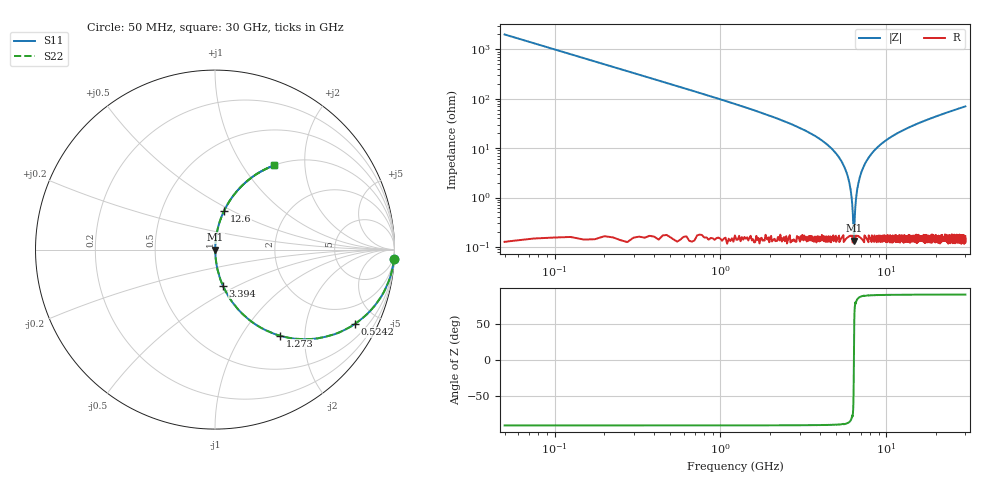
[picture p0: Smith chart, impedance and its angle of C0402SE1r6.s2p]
!	AVX Thin Film Operation 	Date: April 2014
!	Description: Accu-P® Series, Thin Film  SMD RF Capacitor
!	Part Number: 04021J1R6PBSTR
# MHZ S MA R 50
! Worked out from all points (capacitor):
!   1201 points, 50 MHz to 30 GHz, reference 50 ohm
!   read as one part in series: C = 1.6 pF near 199.8 MHz
!   lowest |Z| = 133 mohm at 6.389 GHz (marker M1)
!   series resonance near 6.379 GHz, so ESL is about 390 pH
!   S11 on the Smith chart (normalised r, x): 50 MHz: 1, -40; 524.2 MHz: 1.00, -3.77; 1.273 GHz: 1.00, -1.50; 3.394 GHz: 1.00, -0.42; 12.6 GHz: 1.00, +0.46; 30 GHz: 1.00, +1.40
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50  0.999 -2.9  0.05 87.1  0.05 87.1  0.999 -2.9
274.625  0.964 -15.5  0.267 74.5  0.267 74.5  0.964 -15.5
524.208  0.883 -27.9  0.469 62.0  0.469 62.0  0.883 -27.9
1272.958  0.6 -53.0  0.799 36.8  0.799 36.8  0.6 -53.0
2121.542  0.384 -67.2  0.922 22.6  0.922 22.6  0.384 -67.2
3394.417  0.205 -77.7  0.977 11.8  0.977 11.8  0.205 -77.7
5041.667  0.074 -84.6  0.996 4.2  0.996 4.2  0.074 -84.6
5890.25  0.025 -85.2  0.998 1.4  0.998 1.4  0.025 -85.2
6114.875  0.013 -82.9  0.998 0.8  0.998 0.8  0.013 -82.9
6289.583  0.00466 -71.3  0.999 0.3  0.999 0.3  0.00466 -71.3
6389.417  0.001556 18.1  0.999 -0.0  0.999 -0.0  0.001556 18.1
6464.292  0.00437 70.0  0.999 -0.2  0.999 -0.2  0.00437 70.0
6614.042  0.011 81.9  0.998 -0.6  0.998 -0.6  0.011 81.9
6788.75  0.019 84.5  0.998 -1.1  0.998 -1.1  0.019 84.5
7337.833  0.044 85.6  0.998 -2.5  0.998 -2.5  0.044 85.6
8411.042  0.087 84.0  0.995 -5.0  0.995 -5.0  0.087 84.0
10058.29  0.145 81.1  0.988 -8.3  0.988 -8.3  0.145 81.1
12604.04  0.223 76.7  0.973 -12.9  0.973 -12.9  0.223 76.7
15025  0.288 73.0  0.956 -16.7  0.956 -16.7  0.288 73.0
20016.67  0.402 66.1  0.914 -23.7  0.914 -23.7  0.402 66.1
25033.29  0.496 60.1  0.867 -29.7  0.867 -29.7  0.496 60.1
30000  0.573 54.9  0.818 -35.0  0.818 -35.0  0.573 54.9
